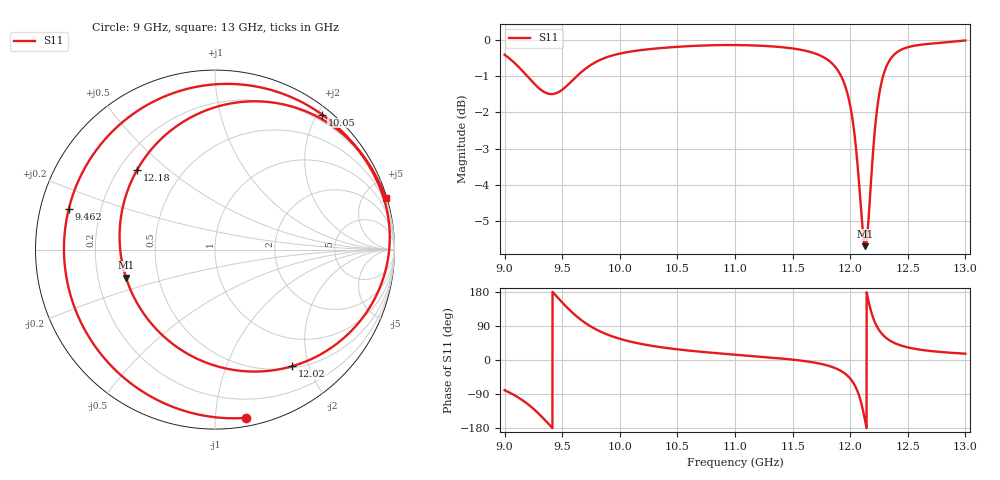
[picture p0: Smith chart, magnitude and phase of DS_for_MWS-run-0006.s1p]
! TOUCHSTONE file generated by CST DESIGN STUDIO
! Date and time: Tue Feb  4 16:20:43 2025
! Project name: C:\Work\MatlabApps\UnitCellOptimizationMatlab\CST\unitcell.cst
! Tree item: Tasks\Sweep1\SPara1\S-Parameters
! Header version: 2024
! Port assignment regex: !\s*Touchstone port\s*([0-9]+)\s*=\s*(CST MWS port|CST DES external port|CST DES block port)\s*(.+)\s* \(\"(.*)\"\)(\s*mode\s*([0-9]+))?.*
! Touchstone port assignment:
! Touchstone port 1 = CST DES external port 1 ("")
# GHz S MA R 50
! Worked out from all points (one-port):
!   4001 points, 9 GHz to 13 GHz, reference 50 ohm
!   lowest |S11| = -5.7 dB at 12.13 GHz (marker M1), VSWR 3.17, Z = 16.1 - j6.92 ohm
!   |S11| at or under -10 dB: nowhere
!   S11 on the Smith chart (normalised r, x): 9 GHz: 0.06, -1.20; 9.462 GHz: 0.09, +0.14; 10.05 GHz: 0.11, +2.06; 12.02 GHz: 0.53, -1.74; 12.18 GHz: 0.27, +0.40; 13 GHz: 0.07, +6.84
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9  0.953 -79.7
9.129  0.9144 -100.9
9.235  0.877 -124.8
9.36  0.8445 -161.5
9.462  0.8457 164.3
9.5  0.8531 151.8
9.596  0.8808 122.9
9.695  0.9099 98.9
9.841  0.9394 73.8
10  0.9565 55.9
10.051  0.9601 51.6
10.5  0.9772 28.1
11  0.9827 14.1
11.5  0.9722 1.0
11.847  0.9257 -18.8
11.936  0.8804 -31.9
12  0.8112 -49.0
12.019  0.7791 -56.5
12.081  0.622 -97.5
12.131  0.52 -162.5
12.153  0.549 163.9
12.176  0.6215 134.2
12.202  0.7133 109.0
12.23  0.7945 89.6
12.312  0.9163 58.4
12.39  0.956 44.1
12.5  0.9759 33.3
13  0.9971 16.6
